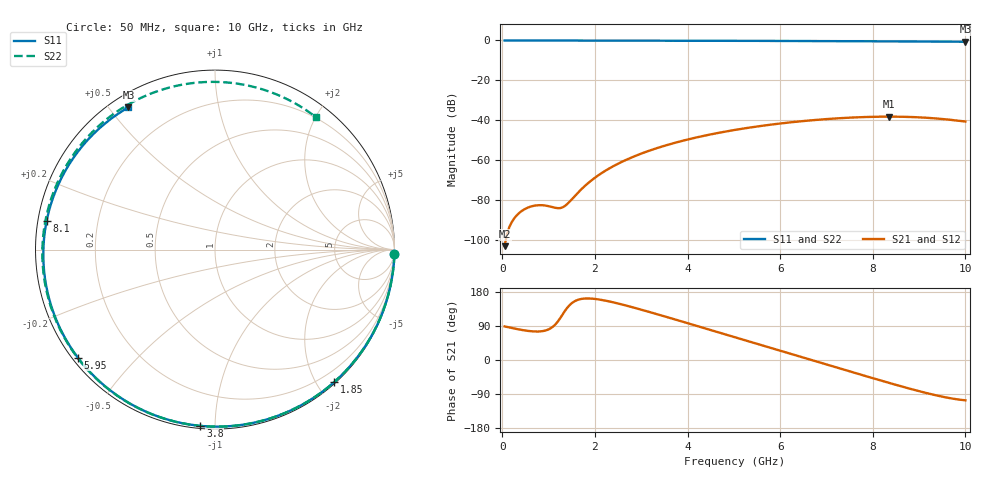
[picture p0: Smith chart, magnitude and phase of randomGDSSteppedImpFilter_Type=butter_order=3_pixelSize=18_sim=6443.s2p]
! freq	dB(S11)	phase(S11)	dB(S12)	phase(S12)
!  dB(S21)	phase(S21)	dB(S22)	phase(S22)
!S-par simulation data
#  GHz  S  DB  R 50
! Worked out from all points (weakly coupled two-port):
!   200 points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, 50 MHz to 10 GHz, reference 50 ohm
!   highest |S21| = -38.14 dB at 8.35 GHz (marker M1); lowest = -103.0 dB at 50 MHz (marker M2)
!   lowest |S11| = -0.7 dB at 10 GHz (marker M3), VSWR 26.70, Z = 2.46 + j28.1 ohm
!   |S11| at or under -10 dB: nowhere
!   |S22| runs from -0.7 to 0.0 dB; largest |S21 - S12| = 0
!   S11 on the Smith chart (normalised r, x): 50 MHz: 0, -86; 1.85 GHz: 0.02, -2.24; 3.8 GHz: 0.01, -0.92; 5.95 GHz: 0.02, -0.35; 8.1 GHz: 0.02, +0.08; 10 GHz: 0.05, +0.56
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0.05  -0.00 -1.3  -102.99 88.6  -102.99 88.6  -0.00 -1.4
0.75  -0.03 -19.8  -82.54 75.1  -82.54 75.1  -0.03 -21.3
1.45  -0.05 -38.0  -80.81 144.4  -80.81 144.4  -0.05 -40.9
1.5  -0.05 -39.2  -79.57 150.0  -79.57 150.0  -0.05 -42.3
1.75  -0.06 -45.6  -73.55 161.9  -73.55 161.9  -0.06 -49.2
1.85  -0.06 -48.1  -71.48 162.4  -71.48 162.4  -0.07 -51.9
2.15  -0.07 -55.6  -66.33 158.4  -66.33 158.4  -0.08 -60.1
2.5  -0.08 -64.2  -61.71 149.1  -61.71 149.1  -0.09 -69.5
2.9  -0.09 -73.8  -57.55 136.2  -57.55 136.2  -0.10 -80.0
3.4  -0.11 -85.5  -53.46 118.8  -53.46 118.8  -0.12 -93.1
3.8  -0.13 -94.7  -50.79 104.5  -50.79 104.5  -0.14 -103.4
4.4  -0.15 -108.2  -47.51 82.7  -47.51 82.7  -0.17 -118.8
5.05  -0.19 -122.4  -44.68 59.1  -44.68 59.1  -0.21 -135.6
5.95  -0.24 -141.8  -41.71 26.3  -41.71 26.3  -0.27 -159.6
6.7  -0.30 -158.0  -39.92 -0.9  -39.92 -0.9  -0.34 179.0
7.4  -0.36 -173.5  -38.77 -26.3  -38.77 -26.3  -0.41 157.2
8.1  -0.43 170.4  -38.19 -51.5  -38.19 -51.5  -0.49 132.9
8.35  -0.46 164.5  -38.14 -60.3  -38.14 -60.3  -0.51 123.6
8.8  -0.51 153.4  -38.31 -75.7  -38.31 -75.7  -0.56 105.7
9.2  -0.56 143.2  -38.76 -88.4  -38.76 -88.4  -0.59 88.7
9.6  -0.60 132.5  -39.54 -99.2  -39.54 -99.2  -0.62 71.0
10  -0.65 121.3  -40.60 -106.5  -40.60 -106.5  -0.65 52.6
